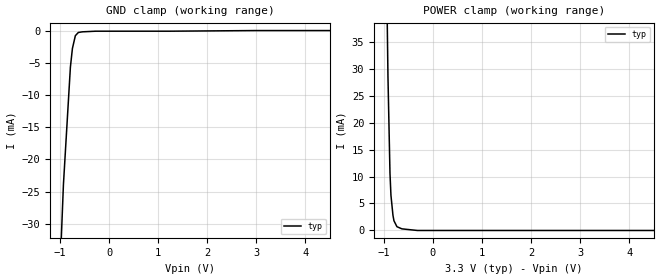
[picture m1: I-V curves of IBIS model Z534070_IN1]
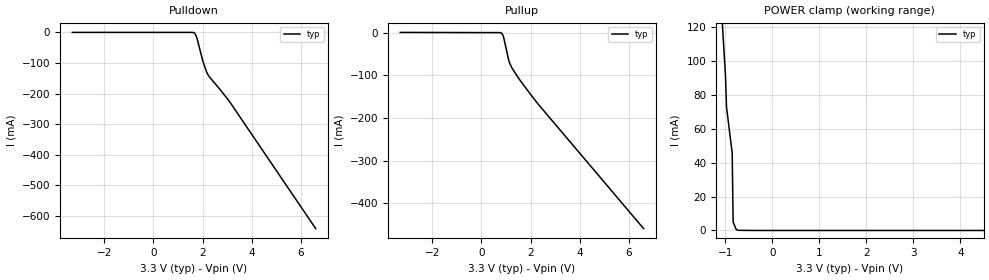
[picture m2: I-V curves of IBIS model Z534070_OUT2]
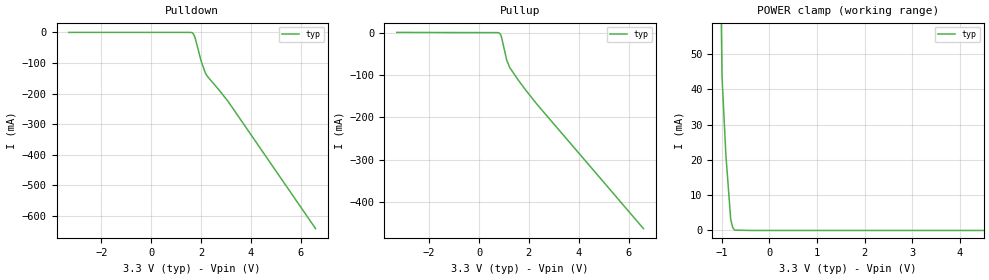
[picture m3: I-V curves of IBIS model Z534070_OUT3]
| YOU ARE ONLY AUTHORIZED TO USE THIS SOFTWARE
| ACCORDING TO LICENSOR'S LICENSE RESTRICTIONS.
[IBIS Ver] 3.1
[File Name] mc100lvel16d_33.ibs
[File Rev] 3.0
[Source] Measured and created by ICX Technology
[Date] 2/9/2004
[Copyright]
| (C) COPYRIGHT 1993-2000
| MENTOR GRAPHICS CORPORATION
| ICX STANDARD LIBRARY, ICX PROJECT MODELING,
| ICX CUSTOM MODELING, ICX VENDOR MODEL
| ALL RIGHTS RESERVED.
| THE FOLLOWING ARE TRADEMARKS OR SERVICE MARKS OF
| MENTOR GRAPHICS CORPORATION:ICX (R), ICX STANDARD
| LIBRARY(R), ICX PROJECT MODELING(R), ICX CUSTOM
| MODELING(R), qualityIBIS(TM), MODELVIEWER(TM),
| AND MODELEDITOR(TM)
| ALL COPIES OF SOFTWARE, INCLUDING BUT NOT LIMITED TO
| ANY MODIFICATIONS, ENHANCEMENTS OR DERIVATIVE WORKS,
| MUST CONTAIN ALL MENTOR GRAPHICS CORPORATION'S
| NOTICES AND LEGENDS, INCLUDING THOSE EMBEDDED IN
| SOFTWARE AND THOSE AFFIXED TO SOFTWARE MEDIUM
| AND CONTAINER, AS RECEIVED FROM MENTOR GRAPHICS
| CORPORATION.
|  ZAP Model Builder 2.7
[Component] MC100LVEL16D_33
[Manufacturer] OnSemiconductor
[Package]
| variable   typ   min   max
R_pkg  .152ohms NA NA
L_pkg  2.714nH NA NA
C_pkg  .364pF NA NA
[Pin] signal_name  model_name  R_pin  L_pin C_pin
1 NC NC .154 2.924n .374p
2 D Z534070_IN1 .15 2.504n .354p
3 _D Z534070_IN1 .15 2.504n .354p
4 VBB POWER .154 2.924n .374p
5 VEE GND .154 2.924n .374p
6 _Q Z534070_OUT2 .15 2.504n .354p
7 Q Z534070_OUT3 .15 2.504n .354p
8 VCC POWER .154 2.924n .374p
| Models and submodels in the file (3): Z534070_IN1 (Input_ECL), Z534070_OUT2 (Output_ECL), Z534070_OUT3 (Output_ECL)
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| (C) COPYRIGHT 1993-2000
| MENTOR GRAPHICS CORPORATION
| ICX STANDARD LIBRARY, ICX PROJECT MODELING,
| ICX CUSTOM MODELING, ICX VENDOR MODEL
| ALL RIGHTS RESERVED.
| THE FOLLOWING ARE TRADEMARKS OR SERVICE MARKS OF
| MENTOR GRAPHICS CORPORATION:ICX (R), ICX STANDARD
| LIBRARY(R), ICX PROJECT MODELING(R), ICX CUSTOM
| MODELING(R), qualityIBIS(TM), MODELVIEWER(TM),
| AND MODELEDITOR(TM)
| ALL COPIES OF SOFTWARE, INCLUDING BUT NOT LIMITED TO
| ANY MODIFICATIONS, ENHANCEMENTS OR DERIVATIVE WORKS,
| MUST CONTAIN ALL MENTOR GRAPHICS CORPORATION'S
| NOTICES AND LEGENDS, INCLUDING THOSE EMBEDDED IN
| SOFTWARE AND THOSE AFFIXED TO SOFTWARE MEDIUM
| AND CONTAINER, AS RECEIVED FROM MENTOR GRAPHICS
| CORPORATION.
| Model Application Version 1.89 2/18/99.
[Model] Z534070_IN1
Model_type Input_ECL
Vinl = 2.115V
Vinh = 2.301V
C_comp 2.000pF NA NA
| variable typ   min   max
[Voltage Range] 3.300V NA NA
[GND Clamp Reference] 0.000V NA NA
[POWER Clamp Reference] 3.300V NA NA
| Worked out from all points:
|   GND clamp passes 1 mA (typ) near -0.70 V on its own axis
|   POWER clamp passes 1 mA (typ) near -0.75 V on its own axis
[GND Clamp]
-3.3V     -481.7mA   NA         NA
-932mV    -23.9mA    NA         NA
-790mV    -5.6mA     NA         NA
-749mV    -2.7mA     NA         NA
-689mV    -700uA     NA         NA
-628mV    -200uA     NA         NA
-547mV    -100uA     NA         NA
-273.5mV  0A         NA         NA
1.227V    0A         NA         NA
2.979V    100uA      NA         NA
6.6V      100uA      NA         NA
[POWER Clamp]
-3.3V     1.244A     NA         NA
-1.138V   180.4mA    NA         NA
-916mV    28.5mA     NA         NA
-875mV    10.6mA     NA         NA
-855mV    6.5mA      NA         NA
-814mV    2.8mA      NA         NA
-794mV    1.8mA      NA         NA
-733mV    700uA      NA         NA
-632mV    300uA      NA         NA
-316mV    0A         NA         NA
6.6V      0A         NA         NA
| (C) COPYRIGHT 1993-2000
| MENTOR GRAPHICS CORPORATION
| ICX STANDARD LIBRARY, ICX PROJECT MODELING,
| ICX CUSTOM MODELING, ICX VENDOR MODEL
| ALL RIGHTS RESERVED.
| THE FOLLOWING ARE TRADEMARKS OR SERVICE MARKS OF
| MENTOR GRAPHICS CORPORATION:ICX (R), ICX STANDARD
| LIBRARY(R), ICX PROJECT MODELING(R), ICX CUSTOM
| MODELING(R), qualityIBIS(TM), MODELVIEWER(TM),
| AND MODELEDITOR(TM)
| ALL COPIES OF SOFTWARE, INCLUDING BUT NOT LIMITED TO
| ANY MODIFICATIONS, ENHANCEMENTS OR DERIVATIVE WORKS,
| MUST CONTAIN ALL MENTOR GRAPHICS CORPORATION'S
| NOTICES AND LEGENDS, INCLUDING THOSE EMBEDDED IN
| SOFTWARE AND THOSE AFFIXED TO SOFTWARE MEDIUM
| AND CONTAINER, AS RECEIVED FROM MENTOR GRAPHICS
| CORPORATION.
| Model Application Version 1.89 2/18/99.
[Model] Z534070_OUT2
Model_type Output_ECL
Vref=1.300V
Rref=50.00ohms
Cref=0.000F
Vmeas=2.207V
C_comp 2.000pF NA NA
| variable typ   min   max
[Voltage Range] 3.300V NA NA
[POWER Clamp Reference] 3.300V NA NA
[Pullup Reference] 3.300V NA NA
[Pulldown Reference] 3.300V NA NA
[GND Clamp Reference] 0.000V NA NA
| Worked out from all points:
|   POWER clamp passes 1 mA (typ) near -0.78 V on its own axis
[GND Clamp]
-3.3V     0A         NA         NA
6.6V      0A         NA         NA
[Pulldown]
-3.3V     0A         NA         NA
1.557V    0A         NA         NA
1.679V    -3mA       NA         NA
1.74V     -11.8mA    NA         NA
1.781V    -22.3mA    NA         NA
2.003V    -92.3mA    NA         NA
2.165V    -130.4mA   NA         NA
2.226V    -139.6mA   NA         NA
3.078V    -224.2mA   NA         NA
6.6V      -641.2mA   NA         NA
[Pullup]
-3.3V     459.6uA    NA         NA
726mV     0A         NA         NA
828mV     -1.6mA     NA         NA
868mV     -5.1mA     NA         NA
909mV     -12mA      NA         NA
1.111V    -64.7mA    NA         NA
1.152V    -72mA      NA         NA
1.253V    -84mA      NA         NA
1.557V    -110.6mA   NA         NA
2.307V    -167.6mA   NA         NA
6.6V      -459.7mA   NA         NA
[POWER Clamp]
-3.3V     1.165A     NA         NA
-997mV    90.86mA    NA         NA
-976mV    72.96mA    NA         NA
-855mV    45.78mA    NA         NA
-835mV    5.083mA    NA         NA
-774mV    791.5uA    NA         NA
-733mV    97.22uA    NA         NA
-366.5mV  0A         NA         NA
6.6V      0A         NA         NA
[Ramp]
| variable typ min max
dV/dt_r 416.1m/820.9p NA NA
dV/dt_f 416.1m/369.8p NA NA
R_load = 50.00Ohms
| (C) COPYRIGHT 1993-2000
| MENTOR GRAPHICS CORPORATION
| ICX STANDARD LIBRARY, ICX PROJECT MODELING,
| ICX CUSTOM MODELING, ICX VENDOR MODEL
| ALL RIGHTS RESERVED.
| THE FOLLOWING ARE TRADEMARKS OR SERVICE MARKS OF
| MENTOR GRAPHICS CORPORATION:ICX (R), ICX STANDARD
| LIBRARY(R), ICX PROJECT MODELING(R), ICX CUSTOM
| MODELING(R), qualityIBIS(TM), MODELVIEWER(TM),
| AND MODELEDITOR(TM)
| ALL COPIES OF SOFTWARE, INCLUDING BUT NOT LIMITED TO
| ANY MODIFICATIONS, ENHANCEMENTS OR DERIVATIVE WORKS,
| MUST CONTAIN ALL MENTOR GRAPHICS CORPORATION'S
| NOTICES AND LEGENDS, INCLUDING THOSE EMBEDDED IN
| SOFTWARE AND THOSE AFFIXED TO SOFTWARE MEDIUM
| AND CONTAINER, AS RECEIVED FROM MENTOR GRAPHICS
| CORPORATION.
| Model Application Version 1.89 2/18/99.
[Model] Z534070_OUT3
Model_type Output_ECL
Vref=1.300V
Rref=50.00ohms
Cref=0.000F
Vmeas=2.207V
C_comp 2.000pF NA NA
| variable typ   min   max
[Voltage Range] 3.300V NA NA
[POWER Clamp Reference] 3.300V NA NA
[Pullup Reference] 3.300V NA NA
[Pulldown Reference] 3.300V NA NA
[GND Clamp Reference] 0.000V NA NA
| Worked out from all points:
|   POWER clamp passes 1 mA (typ) near -0.78 V on its own axis
[GND Clamp]
-3.3V     0A         NA         NA
6.6V      0A         NA         NA
[Pulldown]
-3.3V     0A         NA         NA
1.557V    0A         NA         NA
1.679V    -3mA       NA         NA
1.74V     -11.8mA    NA         NA
1.781V    -22.3mA    NA         NA
2.003V    -92.3mA    NA         NA
2.165V    -130.4mA   NA         NA
2.226V    -139.6mA   NA         NA
3.078V    -224.2mA   NA         NA
6.6V      -641.2mA   NA         NA
[Pullup]
-3.3V     459.6uA    NA         NA
726mV     0A         NA         NA
828mV     -1.6mA     NA         NA
868mV     -5.2mA     NA         NA
909mV     -12.1mA    NA         NA
1.111V    -65.1mA    NA         NA
1.233V    -82.4mA    NA         NA
1.578V    -112.5mA   NA         NA
2.287V    -166.5mA   NA         NA
6.6V      -462.8mA   NA         NA
[POWER Clamp]
-3.3V     1.126A     NA         NA
-1.017V   63.36mA    NA         NA
-997mV    43.56mA    NA         NA
-916mV    21.37mA    NA         NA
-814mV    3.086mA    NA         NA
-774mV    891.5uA    NA         NA
-733mV    97.22uA    NA         NA
-366.5mV  0A         NA         NA
6.6V      0A         NA         NA
[Ramp]
| variable typ min max
dV/dt_r 418.8m/820.9p NA NA
dV/dt_f 418.8m/369.8p NA NA
R_load = 50.00Ohms
